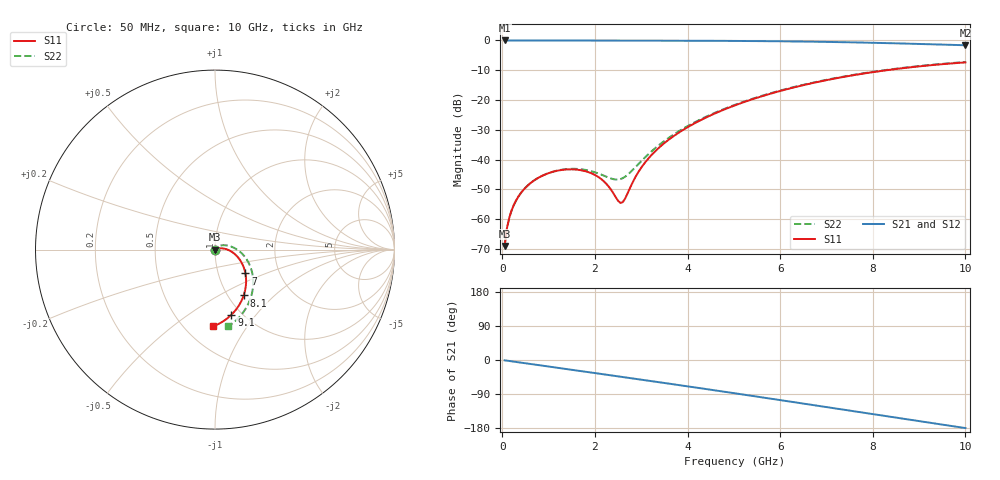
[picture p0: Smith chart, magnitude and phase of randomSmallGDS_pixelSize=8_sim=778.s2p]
! freq	dB(S11)	phase(S11)	dB(S12)	phase(S12)
!  dB(S21)	phase(S21)	dB(S22)	phase(S22)
!S-par simulation data
#  GHz  S  DB  R 50
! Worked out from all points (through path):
!   200 points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, 50 MHz to 10 GHz, reference 50 ohm
!   highest |S21| = 0.00 dB at 50 MHz (marker M1); lowest = -1.6 dB at 10 GHz (marker M2)
!   group delay of S21, straight-line fit = 50.1 ps
!   lowest |S11| = -69.1 dB at 50 MHz (marker M3), VSWR 1.00, Z = 50 - j0.0351 ohm
!   |S11| at or under -10 dB: start of sweep to 8.297 GHz
!   |S22| runs from -69.1 to -7.2 dB; largest |S21 - S12| = 0
!   S11 on the Smith chart (normalised r, x): 50 MHz: 1.00, -0.00; 7 GHz: 1.35, -0.38; 8.1 GHz: 1.18, -0.66; 9.1 GHz: 0.90, -0.76; 10 GHz: 0.68, -0.71
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0.05  -69.08 -85.9  -0.00 -0.9  -0.00 -0.9  -69.10 -86.3
0.1  -63.09 -89.1  -0.00 -1.7  -0.00 -1.7  -63.12 -89.9
0.2  -57.12 -91.9  -0.00 -3.5  -0.00 -3.5  -57.14 -93.6
0.35  -52.37 -94.8  -0.01 -6.1  -0.01 -6.1  -52.40 -97.7
0.55  -48.71 -98.1  -0.01 -9.5  -0.01 -9.5  -48.72 -102.9
0.8  -45.95 -102.0  -0.02 -13.8  -0.02 -13.8  -45.94 -109.3
1.1  -44.09 -106.4  -0.02 -19.0  -0.02 -19.0  -44.04 -117.5
1.75  -43.75 -113.5  -0.03 -30.2  -0.03 -30.2  -43.35 -140.1
2.15  -46.73 -111.8  -0.04 -37.1  -0.04 -37.1  -45.14 -165.2
2.5  -53.86 -74.7  -0.05 -43.1  -0.05 -43.1  -46.73 148.7
2.6  -54.34 -38.5  -0.05 -44.9  -0.05 -44.9  -46.26 131.1
3  -42.75 16.6  -0.06 -51.8  -0.06 -51.8  -40.55 80.5
3.4  -35.79 18.4  -0.07 -58.8  -0.07 -58.8  -34.94 57.5
4.1  -28.28 10.7  -0.10 -71.2  -0.10 -71.2  -27.93 35.1
5.05  -21.65 -4.1  -0.16 -88.3  -0.16 -88.3  -21.46 13.3
5.85  -17.62 -17.7  -0.25 -103.0  -0.25 -103.0  -17.47 -3.2
6.7  -14.31 -32.7  -0.41 -118.8  -0.41 -118.8  -14.19 -19.9
7  -13.33 -38.1  -0.48 -124.4  -0.48 -124.4  -13.21 -25.7
8.1  -10.42 -57.9  -0.81 -144.9  -0.81 -144.9  -10.31 -46.5
8.35  -9.89 -62.4  -0.91 -149.5  -0.91 -149.5  -9.78 -51.1
9.1  -8.54 -75.8  -1.21 -163.3  -1.21 -163.3  -8.43 -64.6
10  -7.37 -91.5  -1.61 -179.5  -1.61 -179.5  -7.25 -80.3
